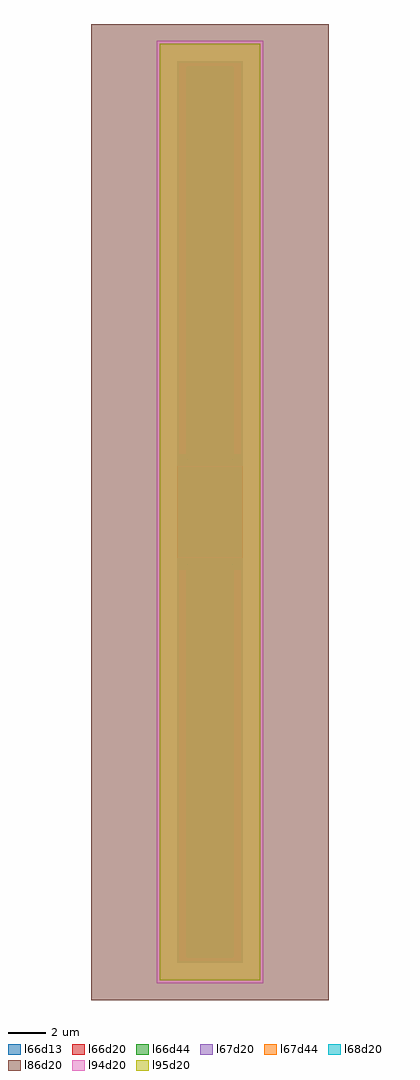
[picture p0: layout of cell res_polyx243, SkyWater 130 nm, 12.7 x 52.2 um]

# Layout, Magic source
magic
tech sky130a
<< l66d20 >>
rect -175 -2410 175 2410
<< l94d20 >>
rect -285 -2520 285 2520
<< l86d20 >>
rect -635 -2610 635 2610
<< l66d44 >>
rect -95 330 95 2330
rect -95 -2330 95 -330
<< l67d44 >>
rect -85 345 85 515
rect -85 705 85 875
rect -85 1065 85 1235
rect -85 1425 85 1595
rect -85 1785 85 1955
rect -85 2145 85 2315
rect -85 -2310 85 -2140
rect -85 -1950 85 -1780
rect -85 -1590 85 -1420
rect -85 -1230 85 -1060
rect -85 -870 85 -700
rect -85 -510 85 -340
<< l95d20 >>
rect -270 -2505 270 2505
<< l67d20 >>
rect -175 250 175 2410
rect -175 -2410 175 -250
<< l66d13 >>
rect -175 -310 175 310
<< l68d20 >>
rect -125 276 125 2380
rect -125 -2380 125 -276
<< end >>
